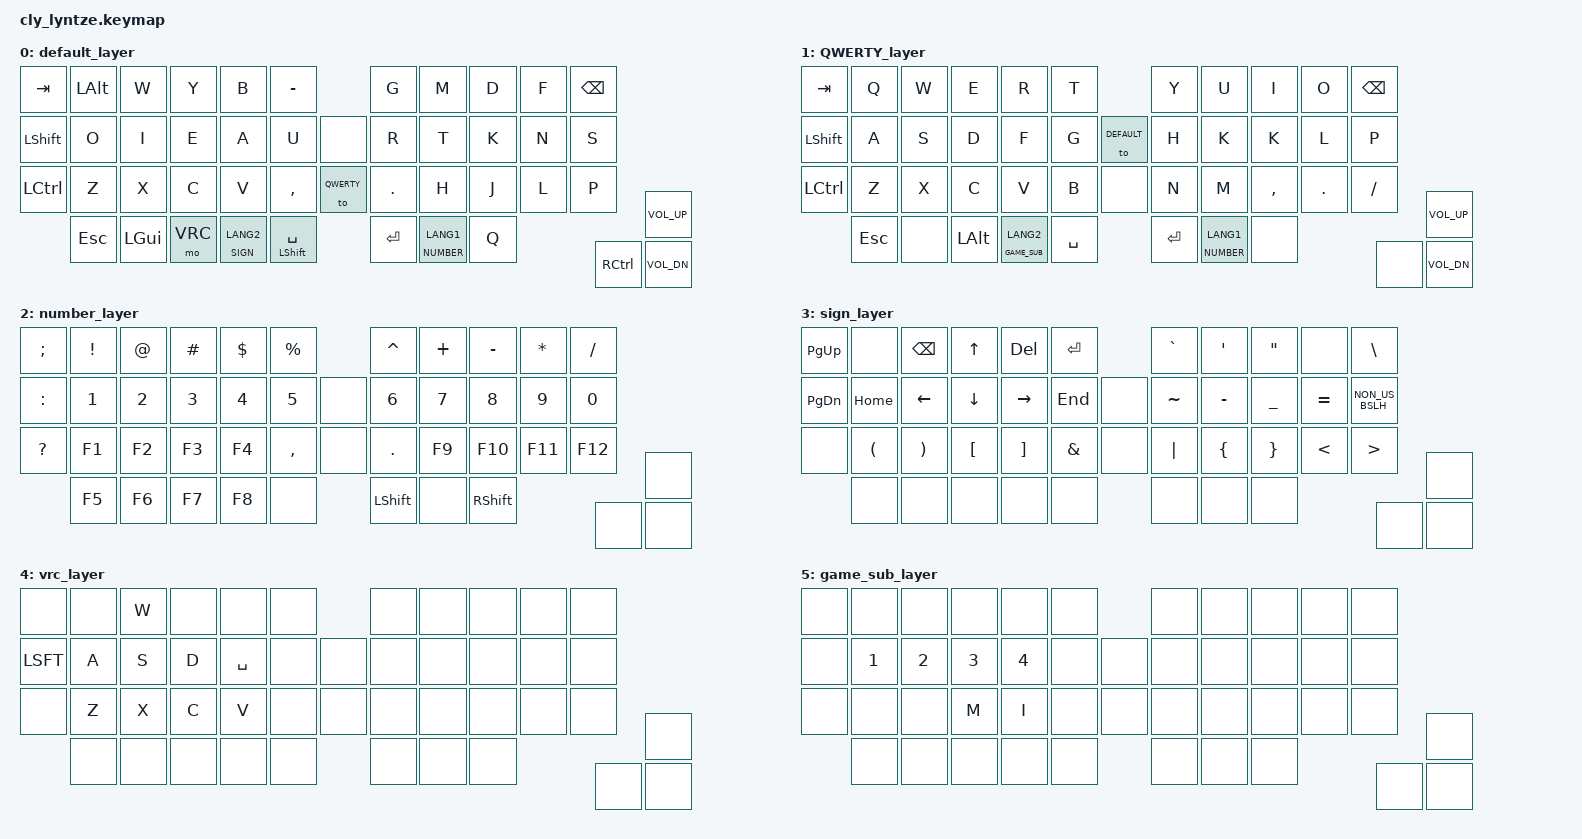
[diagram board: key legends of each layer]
#include <behaviors.dtsi>
#include <dt-bindings/zmk/keys.h>

#define DEFAULT     0
#define QWERTY      1
#define NUMBER      2
#define SIGN        3
#define VRC         4
#define GAME_SUB    5

// Using layer taps on thumbs, having quick tap as well helps w/ repeating space/backspace
&lt { quick-tap-ms = <200>; };

/ {


    keymap {
        compatible = "zmk,keymap";

        default_layer {
            bindings = <
                &kp TAB &kp LALT &kp W &kp Y &kp B &kp MINUS &kp G &kp M &kp D &kp F &kp BSPC
                &kp LSHIFT &kp O &kp I &kp E &kp A &kp U &none &kp R &kp T &kp K &kp N &kp S
                &kp LCTRL &kp Z &kp X &kp C &kp V &kp COMMA &to QWERTY &kp PERIOD &kp H &kp J &kp L &kp P &kp C_VOL_UP
                &kp ESC &kp LGUI &mo VRC &lt SIGN LANG2 &mt LSHIFT SPC &kp ENTER &lt NUMBER LANG1 &kp Q &kp RCTRL &kp C_VOL_DN>;
        };

        QWERTY_layer {
            bindings = <
                &kp TAB &kp Q &kp W &kp E &kp R &kp T &kp Y &kp U &kp I &kp O &kp BSPC
                &kp LSHIFT &kp A &kp S &kp D &kp F &kp G &to DEFAULT &kp H &kp K &kp K &kp L &kp P
                &kp LCTL &kp Z &kp X &kp C &kp V &kp B &none &kp N &kp M &kp COMMA &kp PERIOD &kp SLASH &kp C_VOL_UP
                &kp ESC &none &kp LALT &lt GAME_SUB LANG2 &kp SPC &kp ENTER &lt NUMBER LANG1 &none &none &kp C_VOL_DN>;
        };


        number_layer {
            bindings = <
                &kp SEMICOLON &kp EXCLAMATION &kp AT_SIGN &kp HASH &kp DOLLAR &kp PERCENT &kp CARET &kp PLUS &kp MINUS &kp ASTERISK &kp SLASH
                &kp COLON &kp N1 &kp N2 &kp N3 &kp N4 &kp N5 &none &kp N6 &kp N7 &kp N8 &kp N9 &kp N0
                &kp QUESTION &kp F1 &kp F2 &kp F3 &kp F4 &kp COMMA &none &kp PERIOD &kp F9 &kp F10 &kp F11 &kp F12 &none
                &kp F5 &kp F6 &kp F7 &kp F8 &none &kp LSHIFT &none &kp RSHIFT &none &none>;
        };
        sign_layer {
            bindings = <
                &kp PAGE_UP &none &kp BSPC &kp UP &kp DEL &kp ENTER &kp GRAVE &kp SINGLE_QUOTE &kp DOUBLE_QUOTES &none &kp BACKSLASH
                &kp PAGE_DOWN &kp HOME &kp LEFT &kp DOWN &kp RIGHT &kp END &none &kp TILDE &kp MINUS &kp UNDERSCORE &kp EQUAL &kp NON_US_BSLH
                &none &kp LEFT_PARENTHESIS &kp RIGHT_PARENTHESIS &kp LEFT_BRACKET &kp RIGHT_BRACKET &kp AMPS &none &kp PIPE &kp LEFT_BRACE &kp RIGHT_BRACE &kp LESS_THAN &kp GREATER_THAN &none
                &none &none &none &none &none &none &none &none &none &none>;
        };
        vrc_layer {
            bindings = <
                &none &none &kp W &none &none &none &none &none &none &none &none
                &kp LSFT &kp A &kp S &kp D &kp SPC &none &none &none &none &none &none &none
                &none &kp Z &kp X &kp C &kp V &none &none &none &none &none &none &none &none
                &none &none &none &none &none &none &none &none &none &none>;
        };
        game_sub_layer {
            bindings = <
                &none &none &none &none &none &none &none &none &none &none &none
                &none &kp N1 &kp N2 &kp N3 &kp N4 &none &none &none &none &none &none &none
                &none &none &none &kp M &kp I &none &none &none &none &none &none &none &none
                &none &none &none &none &none &none &none &none &none &none>;
        };
    };
};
